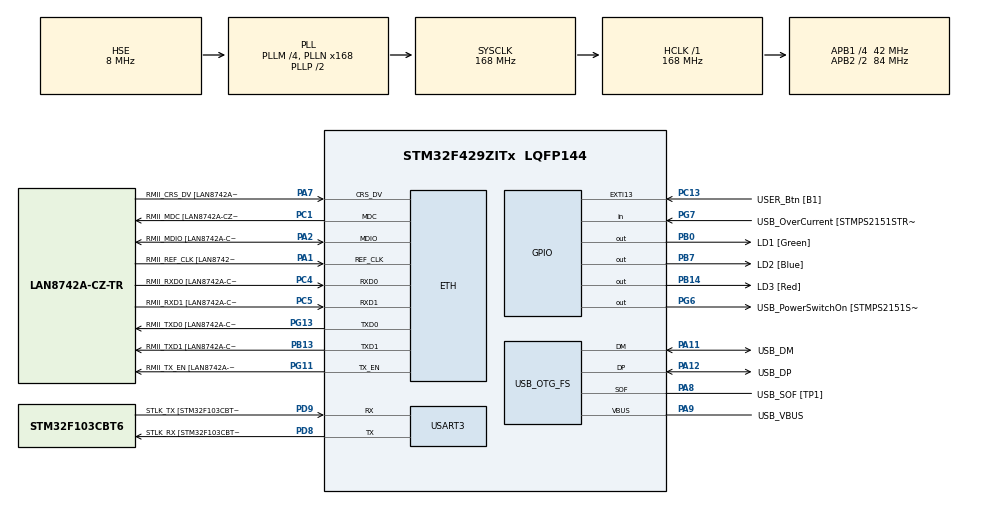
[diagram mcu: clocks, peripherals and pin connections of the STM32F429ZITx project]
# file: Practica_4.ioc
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ETH.MediaInterface=HAL_ETH_RMII_MODE
ETH.PHY_Name=LAN8742A_PHY_ADDRESS
ETH.PHY_Value=0
ETH.PhyAddress=0
Mcu.Family=STM32F4
Mcu.Name=STM32F429ZITx
Mcu.Package=LQFP144
NVIC.PriorityGroup=NVIC_PRIORITYGROUP_4
PA1.GPIO_Label=RMII_REF_CLK [LAN8742A-CZ-TR_REFCLK0]
PA1.Mode=RMII
PA1.Signal=ETH_REF_CLK
PA10.GPIO_Label=USB_ID
PA10.Signal=USB_OTG_FS_ID
PA11.GPIO_Label=USB_DM
PA11.Mode=Device_Only
PA11.Signal=USB_OTG_FS_DM
PA12.GPIO_Label=USB_DP
PA12.Mode=Device_Only
PA12.Signal=USB_OTG_FS_DP
PA13.GPIO_Label=TMS
PA13.Mode=Serial_Wire
PA13.Signal=SYS_JTMS-SWDIO
PA14.GPIO_Label=TCK
PA14.Mode=Serial_Wire
PA14.Signal=SYS_JTCK-SWCLK
PA2.GPIO_Label=RMII_MDIO [LAN8742A-CZ-TR_MDIO]
PA2.Mode=RMII
PA2.Signal=ETH_MDIO
PA7.GPIO_Label=RMII_CRS_DV [LAN8742A-CZ-TR_CRS_DV]
PA7.Mode=RMII
PA7.Signal=ETH_CRS_DV
PA8.GPIO_Label=USB_SOF [TP1]
PA8.Mode=Activate_SOF_FS
PA8.Signal=USB_OTG_FS_SOF
PA9.GPIO_Label=USB_VBUS
PA9.Mode=Activate_VBUS
PA9.Signal=USB_OTG_FS_VBUS
PB0.GPIO_Label=LD1 [Green]
PB0.Signal=GPIO_Output
PB13.GPIO_Label=RMII_TXD1 [LAN8742A-CZ-TR_TXD1]
PB13.Mode=RMII
PB13.Signal=ETH_TXD1
PB14.GPIO_Label=LD3 [Red]
PB14.Signal=GPIO_Output
PB7.GPIO_Label=LD2 [Blue]
PB7.Signal=GPIO_Output
PC1.GPIO_Label=RMII_MDC [LAN8742A-CZ-TR_MDC]
PC1.Mode=RMII
PC1.Signal=ETH_MDC
PC13.GPIO_Label=USER_Btn [B1]
PC13.Signal=GPXTI13
PC14/OSC32_IN.Mode=LSE-External-Oscillator
PC14/OSC32_IN.Signal=RCC_OSC32_IN
PC15/OSC32_OUT.Mode=LSE-External-Oscillator
PC15/OSC32_OUT.Signal=RCC_OSC32_OUT
PC4.GPIO_Label=RMII_RXD0 [LAN8742A-CZ-TR_RXD0]
PC4.Mode=RMII
PC4.Signal=ETH_RXD0
PC5.GPIO_Label=RMII_RXD1 [LAN8742A-CZ-TR_RXD1]
PC5.Mode=RMII
PC5.Signal=ETH_RXD1
PD8.GPIO_Label=STLK_RX [STM32F103CBT6_PA3]
PD8.Mode=Asynchronous
PD8.Signal=USART3_TX
PD9.GPIO_Label=STLK_TX [STM32F103CBT6_PA2]
PD9.Mode=Asynchronous
PD9.Signal=USART3_RX
PG11.GPIO_Label=RMII_TX_EN [LAN8742A-CZ-TR_TXEN]
PG11.Mode=RMII
PG11.Signal=ETH_TX_EN
PG13.GPIO_Label=RMII_TXD0 [LAN8742A-CZ-TR_TXD0]
PG13.Mode=RMII
PG13.Signal=ETH_TXD0
PG6.GPIO_Label=USB_PowerSwitchOn [STMPS2151STR_EN]
PG6.Signal=GPIO_Output
PG7.GPIO_Label=USB_OverCurrent [STMPS2151STR_FAULT]
PG7.Signal=GPIO_Input
PH0/OSC_IN.GPIO_Label=MCO [STM32F103CBT6_PA8]
PH0/OSC_IN.Mode=HSE-External-Clock-Source
PH0/OSC_IN.Signal=RCC_OSC_IN
PH1/OSC_OUT.Mode=HSE-External-Clock-Source
PH1/OSC_OUT.Signal=RCC_OSC_OUT
ProjectManager.HeapSize=0x200
ProjectManager.StackSize=0x400
ProjectManager.TargetToolchain=STM32CubeIDE
RCC.48MHZClocksFreq_Value=48000000
RCC.AHBFreq_Value=168000000
RCC.APB1CLKDivider=RCC_HCLK_DIV4
RCC.APB1Freq_Value=42000000
RCC.APB1TimFreq_Value=84000000
RCC.APB2CLKDivider=RCC_HCLK_DIV2
RCC.APB2Freq_Value=84000000
RCC.APB2TimCLKDivider=2
RCC.APB2TimFreq_Value=168000000
RCC.CortexFreq_Value=168000000
RCC.HCLKFreq_Value=168000000
RCC.HSE_VALUE=8000000
RCC.HSI_VALUE=16000000
RCC.PLLM=4
RCC.PLLMUL=RCC_PLL_MUL9
RCC.PLLN=168
RCC.PLLQ=7
RCC.PRESCALERUSB=RCC_USBCLKSOURCE_PLL_DIV1_5
RCC.SYSCLKFreq_VALUE=168000000
RCC.SYSCLKSource=RCC_SYSCLKSOURCE_PLLCLK
RCC.SYSCLKSourceVirtual=RCC_SYSCLKSOURCE_PLLCLK
RCC.USBFreq_Value=48000000
RCC.VCOOutputFreq_Value=336000000
USART3.VirtualMode=VM_ASYNC
USB_OTG_FS.VirtualMode=Device_Only
board=NUCLEO-F429ZI

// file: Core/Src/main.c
/* USER CODE BEGIN Header */
/**
  ******************************************************************************
  * @file           : main.c
  * @brief          : Main program body
  ******************************************************************************
  * @attention
  *
  * Copyright (c) 2023 STMicroelectronics.
  * All rights reserved.
  *
  * This software is licensed under terms that can be found in the LICENSE file
  * in the root directory of this software component.
  * If no LICENSE file comes with this software, it is provided AS-IS.
  *
  ******************************************************************************
  */
/* USER CODE END Header */
#include "main.h"
#include "string.h"

/* USER CODE BEGIN Includes */
#include "API_delay.h"

/* USER CODE END Includes */

/* USER CODE BEGIN PTD */
typedef enum{
	BUTTON_UP,
	BUTTON_FALLING,
	BUTTON_DOWN,
	BUTTON_RISING
}debounceState_t;

debounceState_t actualState;

/* USER CODE END PTD */

/* USER CODE BEGIN PD */
#define PRESSED		0
#define	RELEASED	1
#define	FSM_DELAY	40

/* USER CODE END PD */

/* USER CODE BEGIN PM */
void debounceFSM_init(void);
void debounceFSM_update(void);
void buttonPressed(void);
void buttonReleased(void);

/* USER CODE END PM */

ETH_TxPacketConfig TxConfig;
ETH_DMADescTypeDef  DMARxDscrTab[ETH_RX_DESC_CNT]; /* Ethernet Rx DMA Descriptors */
ETH_DMADescTypeDef  DMATxDscrTab[ETH_TX_DESC_CNT]; /* Ethernet Tx DMA Descriptors */

ETH_HandleTypeDef heth;

UART_HandleTypeDef huart3;

PCD_HandleTypeDef hpcd_USB_OTG_FS;

void SystemClock_Config(void);
static void MX_GPIO_Init(void);
static void MX_ETH_Init(void);
static void MX_USART3_UART_Init(void);
static void MX_USB_OTG_FS_PCD_Init(void);

int main(void)
{
  /* USER CODE BEGIN 1 */
	delay_t debounceDelay;

  /* USER CODE END 1 */

  /* MCU Configuration--------------------------------------------------------*/

  /* Reset of all peripherals, Initializes the Flash interface and the Systick. */
  HAL_Init();

  /* USER CODE BEGIN Init */
  delayInit(&debounceDelay,FSM_DELAY);

  /* USER CODE END Init */

  /* Configure the system clock */
  SystemClock_Config();

  /* Initialize all configured peripherals */
  MX_GPIO_Init();
  MX_ETH_Init();
  MX_USART3_UART_Init();
  MX_USB_OTG_FS_PCD_Init();

  /* Infinite loop */
  /* USER CODE BEGIN WHILE */
  debounceFSM_init();
  while (1)
  {
	  if(delayRead(&debounceDelay))
		  debounceFSM_update();
    /* USER CODE END WHILE */

  }
}

void SystemClock_Config(void)
{
  RCC_OscInitTypeDef RCC_OscInitStruct = {0};
  RCC_ClkInitTypeDef RCC_ClkInitStruct = {0};

  /** Configure the main internal regulator output voltage
  */
  __HAL_RCC_PWR_CLK_ENABLE();
  __HAL_PWR_VOLTAGESCALING_CONFIG(PWR_REGULATOR_VOLTAGE_SCALE1);

  /** Initializes the RCC Oscillators according to the specified parameters
  * in the RCC_OscInitTypeDef structure.
  */
  RCC_OscInitStruct.OscillatorType = RCC_OSCILLATORTYPE_HSE;
  RCC_OscInitStruct.HSEState = RCC_HSE_BYPASS;
  RCC_OscInitStruct.PLL.PLLState = RCC_PLL_ON;
  RCC_OscInitStruct.PLL.PLLSource = RCC_PLLSOURCE_HSE;
  RCC_OscInitStruct.PLL.PLLM = 4;
  RCC_OscInitStruct.PLL.PLLN = 168;
  RCC_OscInitStruct.PLL.PLLP = RCC_PLLP_DIV2;
  RCC_OscInitStruct.PLL.PLLQ = 7;
  if (HAL_RCC_OscConfig(&RCC_OscInitStruct) != HAL_OK)
  {
    Error_Handler();
  }

  /** Initializes the CPU, AHB and APB buses clocks
  */
  RCC_ClkInitStruct.ClockType = RCC_CLOCKTYPE_HCLK|RCC_CLOCKTYPE_SYSCLK
                              |RCC_CLOCKTYPE_PCLK1|RCC_CLOCKTYPE_PCLK2;
  RCC_ClkInitStruct.SYSCLKSource = RCC_SYSCLKSOURCE_PLLCLK;
  RCC_ClkInitStruct.AHBCLKDivider = RCC_SYSCLK_DIV1;
  RCC_ClkInitStruct.APB1CLKDivider = RCC_HCLK_DIV4;
  RCC_ClkInitStruct.APB2CLKDivider = RCC_HCLK_DIV2;

  if (HAL_RCC_ClockConfig(&RCC_ClkInitStruct, FLASH_LATENCY_5) != HAL_OK)
  {
    Error_Handler();
  }
}

static void MX_ETH_Init(void)
{

   static uint8_t MACAddr[6];

  heth.Instance = ETH;
  MACAddr[0] = 0x00;
  MACAddr[1] = 0x80;
  MACAddr[2] = 0xE1;
  MACAddr[3] = 0x00;
  MACAddr[4] = 0x00;
  MACAddr[5] = 0x00;
  heth.Init.MACAddr = &MACAddr[0];
  heth.Init.MediaInterface = HAL_ETH_RMII_MODE;
  heth.Init.TxDesc = DMATxDscrTab;
  heth.Init.RxDesc = DMARxDscrTab;
  heth.Init.RxBuffLen = 1524;

  if (HAL_ETH_Init(&heth) != HAL_OK)
  {
    Error_Handler();
  }

  memset(&TxConfig, 0 , sizeof(ETH_TxPacketConfig));
  TxConfig.Attributes = ETH_TX_PACKETS_FEATURES_CSUM | ETH_TX_PACKETS_FEATURES_CRCPAD;
  TxConfig.ChecksumCtrl = ETH_CHECKSUM_IPHDR_PAYLOAD_INSERT_PHDR_CALC;
  TxConfig.CRCPadCtrl = ETH_CRC_PAD_INSERT;

}

static void MX_USART3_UART_Init(void)
{

  huart3.Instance = USART3;
  huart3.Init.BaudRate = 115200;
  huart3.Init.WordLength = UART_WORDLENGTH_8B;
  huart3.Init.StopBits = UART_STOPBITS_1;
  huart3.Init.Parity = UART_PARITY_NONE;
  huart3.Init.Mode = UART_MODE_TX_RX;
  huart3.Init.HwFlowCtl = UART_HWCONTROL_NONE;
  huart3.Init.OverSampling = UART_OVERSAMPLING_16;
  if (HAL_UART_Init(&huart3) != HAL_OK)
  {
    Error_Handler();
  }

}

static void MX_USB_OTG_FS_PCD_Init(void)
{

  hpcd_USB_OTG_FS.Instance = USB_OTG_FS;
  hpcd_USB_OTG_FS.Init.dev_endpoints = 4;
  hpcd_USB_OTG_FS.Init.speed = PCD_SPEED_FULL;
  hpcd_USB_OTG_FS.Init.dma_enable = DISABLE;
  hpcd_USB_OTG_FS.Init.phy_itface = PCD_PHY_EMBEDDED;
  hpcd_USB_OTG_FS.Init.Sof_enable = ENABLE;
  hpcd_USB_OTG_FS.Init.low_power_enable = DISABLE;
  hpcd_USB_OTG_FS.Init.lpm_enable = DISABLE;
  hpcd_USB_OTG_FS.Init.vbus_sensing_enable = ENABLE;
  hpcd_USB_OTG_FS.Init.use_dedicated_ep1 = DISABLE;
  if (HAL_PCD_Init(&hpcd_USB_OTG_FS) != HAL_OK)
  {
    Error_Handler();
  }

}

static void MX_GPIO_Init(void)
{
  GPIO_InitTypeDef GPIO_InitStruct = {0};

  /* GPIO Ports Clock Enable */
  __HAL_RCC_GPIOC_CLK_ENABLE();
  __HAL_RCC_GPIOH_CLK_ENABLE();
  __HAL_RCC_GPIOA_CLK_ENABLE();
  __HAL_RCC_GPIOB_CLK_ENABLE();
  __HAL_RCC_GPIOD_CLK_ENABLE();
  __HAL_RCC_GPIOG_CLK_ENABLE();

  /*Configure GPIO pin Output Level */
  HAL_GPIO_WritePin(GPIOB, LD1_Pin|LD3_Pin|LD2_Pin, GPIO_PIN_RESET);

  /*Configure GPIO pin Output Level */
  HAL_GPIO_WritePin(USB_PowerSwitchOn_GPIO_Port, USB_PowerSwitchOn_Pin, GPIO_PIN_RESET);

  /*Configure GPIO pin : USER_Btn_Pin */
  GPIO_InitStruct.Pin = USER_Btn_Pin;
  GPIO_InitStruct.Mode = GPIO_MODE_IT_RISING;
  GPIO_InitStruct.Pull = GPIO_NOPULL;
  HAL_GPIO_Init(USER_Btn_GPIO_Port, &GPIO_InitStruct);

  /*Configure GPIO pins : LD1_Pin LD3_Pin LD2_Pin */
  GPIO_InitStruct.Pin = LD1_Pin|LD3_Pin|LD2_Pin;
  GPIO_InitStruct.Mode = GPIO_MODE_OUTPUT_PP;
  GPIO_InitStruct.Pull = GPIO_NOPULL;
  GPIO_InitStruct.Speed = GPIO_SPEED_FREQ_LOW;
  HAL_GPIO_Init(GPIOB, &GPIO_InitStruct);

  /*Configure GPIO pin : USB_PowerSwitchOn_Pin */
  GPIO_InitStruct.Pin = USB_PowerSwitchOn_Pin;
  GPIO_InitStruct.Mode = GPIO_MODE_OUTPUT_PP;
  GPIO_InitStruct.Pull = GPIO_NOPULL;
  GPIO_InitStruct.Speed = GPIO_SPEED_FREQ_LOW;
  HAL_GPIO_Init(USB_PowerSwitchOn_GPIO_Port, &GPIO_InitStruct);

  /*Configure GPIO pin : USB_OverCurrent_Pin */
  GPIO_InitStruct.Pin = USB_OverCurrent_Pin;
  GPIO_InitStruct.Mode = GPIO_MODE_INPUT;
  GPIO_InitStruct.Pull = GPIO_NOPULL;
  HAL_GPIO_Init(USB_OverCurrent_GPIO_Port, &GPIO_InitStruct);

}

/* USER CODE BEGIN 4 */
void debounceFSM_init(void)
{
	actualState = BUTTON_UP;
}

void debounceFSM_update(void)
{
	switch(actualState){
		case BUTTON_UP:
			if(PRESSED == HAL_GPIO_ReadPin(GPIOC,GPIO_PIN_13))
				actualState = BUTTON_FALLING;
			break;
		case BUTTON_FALLING:
			if(PRESSED == HAL_GPIO_ReadPin(GPIOC,GPIO_PIN_13)){
				buttonPressed();
				actualState = BUTTON_DOWN;
			}
			else
				actualState = BUTTON_UP;
			break;
		case BUTTON_DOWN:
			if(RELEASED == HAL_GPIO_ReadPin(GPIOC,GPIO_PIN_13))
				actualState = BUTTON_RISING;
			break;
		case BUTTON_RISING:
			if(RELEASED == HAL_GPIO_ReadPin(GPIOC,GPIO_PIN_13)){
				buttonReleased();
				actualState = BUTTON_UP;
			}
			else
				actualState = BUTTON_DOWN;
			break;
	}
}

void buttonPressed(void)
{
	HAL_GPIO_TogglePin(GPIOB,LD3_Pin);
}

void buttonReleased(void)
{
	HAL_GPIO_TogglePin(GPIOB,LD1_Pin);
}

/* USER CODE END 4 */

void Error_Handler(void)
{
  __disable_irq();
  while (1)
  {
  }
}
